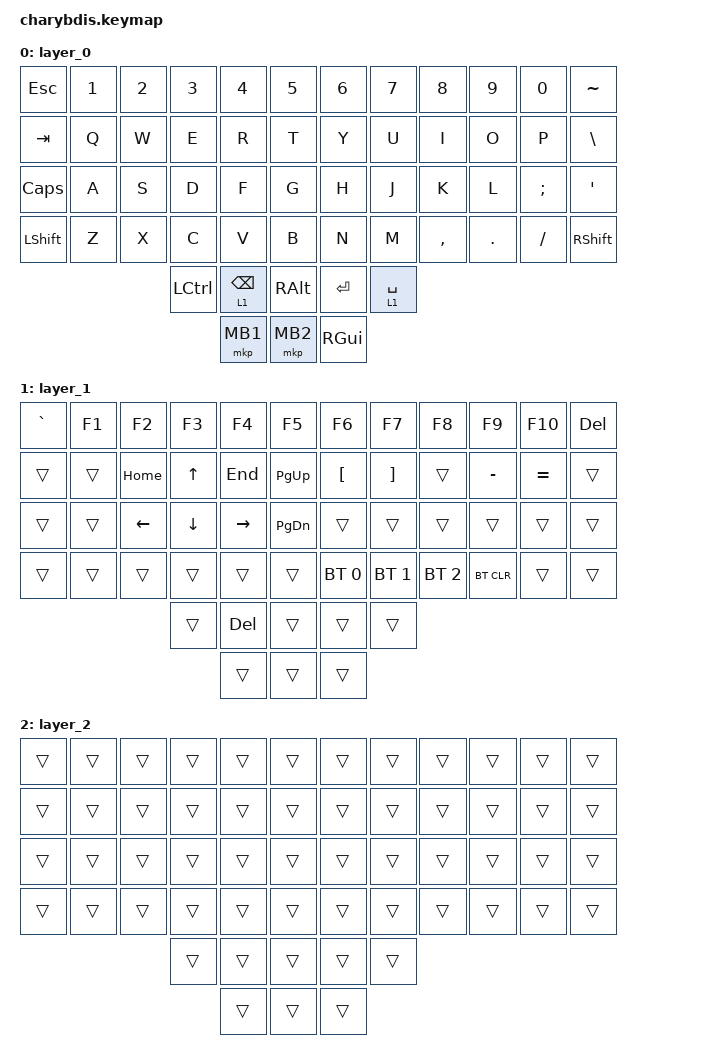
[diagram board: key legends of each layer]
#include <dt-bindings/zmk/mouse.h>
#include <behaviors.dtsi>
#include <dt-bindings/zmk/bt.h>
#include <dt-bindings/zmk/keys.h>
#include <dt-bindings/zmk/pointing.h>

&lt {
    tapping-term-ms = <200>;
    flavor = "balanced";
    quick-tap-ms = <150>;
};

/ {

    behaviors {
    as_ht: autoshift_hold_tap {
      compatible = "zmk,behavior-hold-tap";
      label = "AUTOSHIFT_HOLD_TAP";
      #binding-cells = <2>;
      tapping-term-ms = <200>;
      bindings = <&shifted>, <&kp>;
    };
  };

  macros {
    shifted: macro_shifted_kp {
      #binding-cells = <1>;
      label = "MACRO_SHIFTED_KP";
      compatible = "zmk,behavior-macro-one-param";
      bindings =
        <&macro_press &kp LSHFT>,
        <&macro_param_1to1 &macro_tap &kp MACRO_PLACEHOLDER>,
        <&macro_release &kp LSHFT>;
    };

    as: autoshift {
      compatible = "zmk,behavior-macro-one-param";
      #binding-cells = <1>;
      label = "AUTOSHIFT_KP";
      bindings =
        <&macro_press>,
        <&macro_param_1to1>,
        <&macro_param_1to2>,
        <&as_ht MACRO_PLACEHOLDER MACRO_PLACEHOLDER>,
        <&macro_pause_for_release>,
        <&macro_release>,
        <&macro_param_1to1>,
        <&macro_param_1to2>,
        <&as_ht MACRO_PLACEHOLDER MACRO_PLACEHOLDER>;
    };
  };

    keymap {
        compatible = "zmk,keymap";

        layer_0 {
            bindings = <
&kp ESC         &kp N1  &kp N2  &kp N3            &kp N4           &kp N5           &kp N6         &kp N7       &kp N8     &kp N9   &kp N0     &kp TILDE
&kp TAB         &kp Q   &kp W   &kp E             &kp R            &kp T            &kp Y          &kp U        &kp I      &kp O    &kp P      &kp BSLH
&kp CAPSLOCK    &kp A   &kp S   &kp D             &kp F            &kp G            &kp H          &kp J        &kp K      &kp L    &kp SEMI   &kp APOS
&kp LEFT_SHIFT  &kp Z   &kp X   &kp C             &kp V            &kp B            &kp N          &kp M        &kp COMMA  &kp DOT  &kp SLASH  &kp RIGHT_SHIFT
                                &kp LEFT_CONTROL  &lt 1 BACKSPACE  &kp RIGHT_ALT    &kp ENTER      &lt 1 SPACE
                                                  &mkp MB1         &mkp MB2         &kp RIGHT_GUI
            >;

            trackball-bindings = <&tmv_coarse>;
        };

        layer_1 {
            bindings = <
&kp GRAVE  &kp F1  &kp F2          &kp F3        &kp F4           &kp F5           &kp F6        &kp F7        &kp F8        &kp F9      &kp F10    &kp DELETE
&trans     &trans  &kp HOME        &kp UP_ARROW  &kp END          &kp PAGE_UP      &kp LBKT      &kp RBKT      &trans        &kp MINUS   &kp EQUAL  &trans
&trans     &trans  &kp LEFT_ARROW  &kp DOWN      &kp RIGHT_ARROW  &kp PAGE_DOWN    &trans        &trans        &trans        &trans      &trans     &trans
&trans     &trans  &trans          &trans        &trans           &trans           &bt BT_SEL 0  &bt BT_SEL 1  &bt BT_SEL 2  &bt BT_CLR  &trans     &trans
                                   &trans        &kp DEL          &trans           &trans        &trans
                                                 &trans           &trans           &trans
            >;

            trackball-bindings = <&tsl>;
        };

        layer_2 {
            bindings = <
&trans  &trans  &trans  &trans  &trans  &trans    &trans  &trans  &trans  &trans  &trans  &trans
&trans  &trans  &trans  &trans  &trans  &trans    &trans  &trans  &trans  &trans  &trans  &trans
&trans  &trans  &trans  &trans  &trans  &trans    &trans  &trans  &trans  &trans  &trans  &trans
&trans  &trans  &trans  &trans  &trans  &trans    &trans  &trans  &trans  &trans  &trans  &trans
                        &trans  &trans  &trans    &trans  &trans
                                &trans  &trans    &trans
            >;
        };

        /* layer_2 {
            bindings = <
&none  &none   &none    &none   &none         &none         &kp N1         &none         &none     &none  &none   &to 0
&none  &none   &none    &none   &none         &none         &none         &none          &rgb_ug RGB_BRD &rgb_ug RGB_BRI  &rgb_ug RGB_EFF   &rgb_ug RGB_TOG
&none  &none   &none    &none   &none         &none         &none         &mkp LCLK     &mkp RCLK  &none  &none   &none
&none  &none   &none    &none   &bt BT_NXT  &bt BT_CLR    &none         &none         &none     &none  &none   &none
                                   &none         &none         &none         &none         &none
                                                 &none         &none         &none
            >;
          trackball-bindings = <&tsl>;
            
        };

       Mouse {
            bindings = <
&none        &none         &none         &none         &none      &none         &none       &none      &none         &none         &none         &none
&none        &bt BT_SEL 0  &bt BT_SEL 1  &bt BT_SEL 3  &none      &bt BT_CLR    &bt BT_CLR  &none      &bt BT_SEL 2  &bt BT_SEL 1  &bt BT_SEL 0  &none
&none        &trans        &trans        &mkp MCLK     &trans     &none         &none       &trans     &mkp MCLK     &trans        &trans        &none
&bootloader  &trans        &mkp RCLK     &mo 4         &mkp LCLK  &mo 5         &mo 5       &mkp LCLK  &mo 4         &mkp RCLK     &trans        &bootloader
                                         &mo 5         &mkp LCLK  &mkp RCLK     &mkp RCLK   &mkp LCLK
                                                       &none      &trans        &trans
            >;

            
        };

        layer_4 {
            bindings = <
&trans  &trans  &trans     &trans     &trans     &trans       &trans     &trans     &trans     &trans     &trans  &trans
&trans  &trans  &trans     &trans     &trans     &trans       &trans     &trans     &trans     &trans     &trans  &trans
&trans  &trans  &trans     &mkp MCLK  &trans     &trans       &trans     &trans     &mkp MCLK  &trans     &trans  &trans
&trans  &trans  &mkp RCLK  &trans     &mkp LCLK  &trans       &trans     &mkp LCLK  &trans     &mkp RCLK  &trans  &trans
                           &trans     &mkp LCLK  &mkp RCLK    &mkp RCLK  &mkp LCLK
                                      &trans     &trans       &trans
            >;
                
                
                trackball-bindings = <&tsl>;
        };

        layer_5 {
            bindings = <
&trans  &trans  &trans     &trans     &trans     &trans       &trans     &trans     &trans     &trans     &trans  &trans
&trans  &trans  &trans     &trans     &trans     &trans       &trans     &trans     &trans     &trans     &trans  &trans
&trans  &trans  &trans     &mkp MCLK  &trans     &trans       &trans     &trans     &mkp MCLK  &trans     &trans  &trans
&trans  &trans  &mkp RCLK  &trans     &mkp LCLK  &trans       &trans     &mkp LCLK  &trans     &mkp RCLK  &trans  &trans
                           &trans     &mkp LCLK  &mkp RCLK    &mkp RCLK  &mkp LCLK
                                      &trans     &trans       &trans
            >;
                trackball-bindings = <&tmv_fine>;
                
        };*/
    };
};
